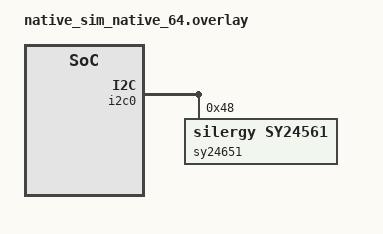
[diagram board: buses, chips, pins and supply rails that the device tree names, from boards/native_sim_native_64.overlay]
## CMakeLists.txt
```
# SPDX-License-Identifier: Apache-2.0

cmake_minimum_required(VERSION 3.28.0)
find_package(Zephyr REQUIRED HINTS $ENV{ZEPHYR_BASE})
project(device)

target_sources(app PRIVATE src/test_sy24561.c)
```

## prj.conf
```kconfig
CONFIG_ZTEST=y
CONFIG_TEST_USERSPACE=y

CONFIG_LOG=y
CONFIG_I2C=y
CONFIG_I2C_LOG_LEVEL_DBG=y
CONFIG_FUEL_GAUGE=y
CONFIG_FUEL_GAUGE_LOG_LEVEL_DBG=y
```

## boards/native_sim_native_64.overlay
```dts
/*
 * SPDX-License-Identifier: Apache-2.0
 */

&i2c0 {
	sy24651: sy24651@48 {
		compatible = "silergy,sy24561";
		reg = <0x48>;
		status = "okay";
	};
};
```

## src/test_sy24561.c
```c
/*
 * Copyright (c) 2023 Alvaro Garcia Gomez <maxpowel@gmail.com>
 *
 * SPDX-License-Identifier: Apache-2.0
 */

#include <zephyr/device.h>
#include <zephyr/drivers/fuel_gauge.h>
#include <zephyr/drivers/i2c.h>
#include <zephyr/logging/log.h>
#include <zephyr/sys/byteorder.h>
#include <zephyr/sys/util.h>
#include <zephyr/ztest.h>
#include <zephyr/ztest_assert.h>

struct sy24561_fixture {
	const struct device *dev;
	const struct fuel_gauge_driver_api *api;
};

void emul_sy24561_set_crate_status(int value);

static void *sy24561_setup(void)
{
	static ZTEST_DMEM struct sy24561_fixture fixture;

	fixture.dev = DEVICE_DT_GET_ANY(silergy_sy24561);
	k_object_access_all_grant(fixture.dev);

	zassert_true(device_is_ready(fixture.dev), "Fuel Gauge not found");

	return &fixture;
}

ZTEST_USER_F(sy24561, test_get_some_props_failed_returns_bad_status)
{
	fuel_gauge_prop_t prop_types[] = {
		/* First invalid property */
		FUEL_GAUGE_PROP_MAX,
		/* Second invalid property */
		FUEL_GAUGE_PROP_MAX,
		/* Valid property */
		FUEL_GAUGE_VOLTAGE_UV,
	};
	union fuel_gauge_prop_val props[ARRAY_SIZE(prop_types)];

	int ret = fuel_gauge_get_props(fixture->dev, prop_types, props, ARRAY_SIZE(props));

	zassert_equal(ret, -ENOTSUP, "Getting bad property has a good status.");
}

ZTEST_USER_F(sy24561, test_get_props__returns_ok)
{
	/* Validate what props are supported by the driver */

	fuel_gauge_prop_t prop_types[] = {
		FUEL_GAUGE_VOLTAGE_UV,
		FUEL_GAUGE_RELATIVE_STATE_OF_CHARGE_PCT,
		FUEL_GAUGE_STATUS,
		FUEL_GAUGE_CURRENT_DIRECTION,
	};

	union fuel_gauge_prop_val props[ARRAY_SIZE(prop_types)];

	zassert_ok(fuel_gauge_get_props(fixture->dev, prop_types, props, ARRAY_SIZE(props)));
	zassert_equal(props[0].voltage_uv, 3199000);
	zassert_equal(props[1].relative_state_of_charge_pct, 74);
	zassert_equal(props[2].fg_status, 0);
	zassert_equal(props[3].current_direction, 0);
}

ZTEST_USER_F(sy24561, test_out_of_range_temperature_are_cropped)
{
	union fuel_gauge_prop_val val;
	int ret = 0;

	val.temperature_dk = 0;
	ret = fuel_gauge_set_prop(fixture->dev, FUEL_GAUGE_TEMPERATURE_DK,
				  val); /* A warning is triggered but it should pass */
	zassert_equal(ret, 0, "Setting too low temperature has good status");

	val.temperature_dk = 0xffff;
	ret = fuel_gauge_set_prop(fixture->dev, FUEL_GAUGE_TEMPERATURE_DK,
				  val); /* A warning is triggered but it should pass */
	zassert_equal(ret, 0, "Setting too high temperature has good status");
}

ZTEST_USER_F(sy24561, test_out_of_range_alarm_threshold_are_cropped)
{
	union fuel_gauge_prop_val val;
	int ret = 0;

	val.state_of_charge_alarm_pct = 0u;
	ret = fuel_gauge_set_prop(fixture->dev, FUEL_GAUGE_STATE_OF_CHARGE_ALARM_PCT,
				  val); /* A warning is triggered but it should pass */
	zassert_equal(ret, 0, "Setting too low alarm threshold has good status");

	val.state_of_charge_alarm_pct = 0xffu;
	ret = fuel_gauge_set_prop(fixture->dev, FUEL_GAUGE_STATE_OF_CHARGE_ALARM_PCT,
				  val); /* A warning is triggered but it should pass */
	zassert_equal(ret, 0, "Setting too high alarm threshold has good status");
}

ZTEST_SUITE(sy24561, NULL, sy24561_setup, NULL, NULL, NULL);
```
